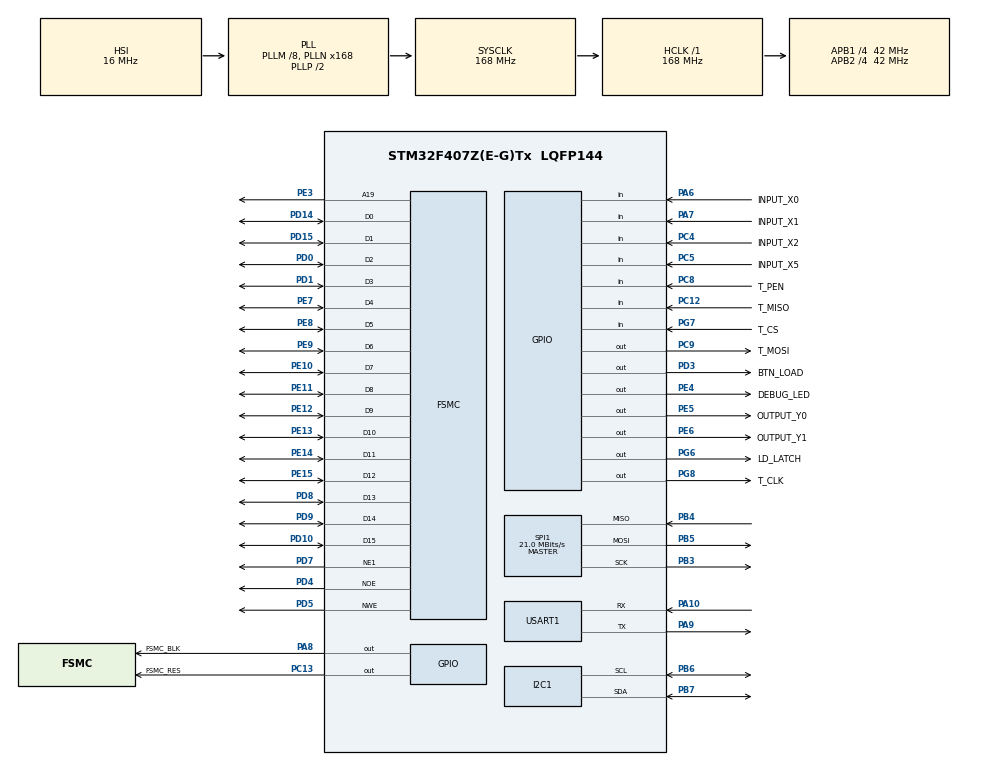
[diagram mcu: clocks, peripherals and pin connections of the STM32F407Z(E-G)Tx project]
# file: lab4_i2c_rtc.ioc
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FSMC.AddressSetupTime1=0xf
FSMC.BusTurnAroundDuration1=0
FSMC.DataSetupTime1=60
FSMC.ExtendedAddressSetupTime1=8
FSMC.ExtendedBusTurnAroundDuration1=0
FSMC.ExtendedDataSetupTime1=9
FSMC.ExtendedMode1=FSMC_EXTENDED_MODE_ENABLE
Mcu.Family=STM32F4
Mcu.Name=STM32F407Z(E-G)Tx
Mcu.Package=LQFP144
NVIC.PriorityGroup=NVIC_PRIORITYGROUP_4
NVIC.TIM2_IRQn=true\:0\:0\:false\:false\:true\:true\:true
NVIC.USART1_IRQn=true\:0\:0\:false\:false\:true\:true\:true
PA10.Mode=Asynchronous
PA10.Signal=USART1_RX
PA13.Mode=Serial_Wire
PA13.Signal=SYS_JTMS-SWDIO
PA14.Mode=Serial_Wire
PA14.Signal=SYS_JTCK-SWCLK
PA6.GPIO_Label=INPUT_X0
PA6.Signal=GPIO_Input
PA7.GPIO_Label=INPUT_X1
PA7.Signal=GPIO_Input
PA8.GPIO_Label=FSMC_BLK
PA8.Signal=GPIO_Output
PA9.Mode=Asynchronous
PA9.Signal=USART1_TX
PB3.Mode=Full_Duplex_Master
PB3.Signal=SPI1_SCK
PB4.Mode=Full_Duplex_Master
PB4.Signal=SPI1_MISO
PB5.Mode=Full_Duplex_Master
PB5.Signal=SPI1_MOSI
PB6.Mode=I2C
PB6.Signal=I2C1_SCL
PB7.Mode=I2C
PB7.Signal=I2C1_SDA
PC12.GPIO_Label=T_MISO
PC12.Signal=GPIO_Input
PC13-ANTI_TAMP.GPIO_Label=FSMC_RES
PC13-ANTI_TAMP.Signal=GPIO_Output
PC4.GPIO_Label=INPUT_X2
PC4.Signal=GPIO_Input
PC5.GPIO_Label=INPUT_X5
PC5.Signal=GPIO_Input
PC8.GPIO_Label=T_PEN
PC8.Signal=GPIO_Input
PC9.GPIO_Label=T_MOSI
PC9.Signal=GPIO_Output
PD0.Signal=FSMC_D2_DA2
PD1.Signal=FSMC_D3_DA3
PD10.Signal=FSMC_D15_DA15
PD14.Signal=FSMC_D0_DA0
PD15.Signal=FSMC_D1_DA1
PD3.GPIO_Label=BTN_LOAD
PD3.Signal=GPIO_Output
PD4.Signal=FSMC_NOE
PD5.Signal=FSMC_NWE
PD7.Mode=NorPsramChipSelect1_1
PD7.Signal=FSMC_NE1
PD8.Signal=FSMC_D13_DA13
PD9.Signal=FSMC_D14_DA14
PE10.Signal=FSMC_D7_DA7
PE11.Signal=FSMC_D8_DA8
PE12.Signal=FSMC_D9_DA9
PE13.Signal=FSMC_D10_DA10
PE14.Signal=FSMC_D11_DA11
PE15.Signal=FSMC_D12_DA12
PE3.Signal=FSMC_A19
PE4.GPIO_Label=DEBUG_LED
PE4.Signal=GPIO_Output
PE5.GPIO_Label=OUTPUT_Y0
PE5.Signal=GPIO_Output
PE6.GPIO_Label=OUTPUT_Y1
PE6.Signal=GPIO_Output
PE7.Signal=FSMC_D4_DA4
PE8.Signal=FSMC_D5_DA5
PE9.Signal=FSMC_D6_DA6
PG6.GPIO_Label=LD_LATCH
PG6.Signal=GPIO_Output
PG7.GPIO_Label=T_CS
PG7.Signal=GPIO_Input
PG8.GPIO_Label=T_CLK
PG8.Signal=GPIO_Output
PH0-OSC_IN.Mode=HSE-External-Oscillator
PH0-OSC_IN.Signal=RCC_OSC_IN
PH1-OSC_OUT.Mode=HSE-External-Oscillator
PH1-OSC_OUT.Signal=RCC_OSC_OUT
ProjectManager.HeapSize=0x200
ProjectManager.StackSize=0x400
ProjectManager.TargetToolchain=STM32CubeIDE
RCC.48MHZClocksFreq_Value=84000000
RCC.AHBFreq_Value=168000000
RCC.APB1CLKDivider=RCC_HCLK_DIV4
RCC.APB1Freq_Value=42000000
RCC.APB1TimFreq_Value=84000000
RCC.APB2CLKDivider=RCC_HCLK_DIV4
RCC.APB2Freq_Value=42000000
RCC.APB2TimFreq_Value=84000000
RCC.CortexFreq_Value=168000000
RCC.HCLKFreq_Value=168000000
RCC.HSE_VALUE=8000000
RCC.HSI_VALUE=16000000
RCC.LSE_VALUE=32768
RCC.PLLM=8
RCC.PLLN=168
RCC.SYSCLKFreq_VALUE=168000000
RCC.SYSCLKSource=RCC_SYSCLKSOURCE_PLLCLK
RCC.VCOOutputFreq_Value=336000000
SH.FSMC_A19.0=FSMC_A19,A19_1
SH.FSMC_D0_DA0.0=FSMC_D0,16b-d1
SH.FSMC_D10_DA10.0=FSMC_D10,16b-d1
SH.FSMC_D11_DA11.0=FSMC_D11,16b-d1
SH.FSMC_D12_DA12.0=FSMC_D12,16b-d1
SH.FSMC_D13_DA13.0=FSMC_D13,16b-d1
SH.FSMC_D14_DA14.0=FSMC_D14,16b-d1
SH.FSMC_D15_DA15.0=FSMC_D15,16b-d1
SH.FSMC_D1_DA1.0=FSMC_D1,16b-d1
SH.FSMC_D2_DA2.0=FSMC_D2,16b-d1
SH.FSMC_D3_DA3.0=FSMC_DA3
SH.FSMC_D3_DA3.1=FSMC_D3,16b-d1
SH.FSMC_D4_DA4.0=FSMC_D4,16b-d1
SH.FSMC_D5_DA5.0=FSMC_D5,16b-d1
SH.FSMC_D6_DA6.0=FSMC_D6,16b-d1
SH.FSMC_D7_DA7.0=FSMC_D7,16b-d1
SH.FSMC_D8_DA8.0=FSMC_D8,16b-d1
SH.FSMC_D9_DA9.0=FSMC_D9,16b-d1
SH.FSMC_NOE.0=FSMC_NOE,Lcd1
SH.FSMC_NWE.0=FSMC_NWE,Lcd1
SPI1.CalculateBaudRate=21.0 MBits/s
SPI1.Direction=SPI_DIRECTION_2LINES
SPI1.Mode=SPI_MODE_MASTER
SPI1.VirtualType=VM_MASTER
TIM2.Period=100-1
TIM2.Prescaler=840-1
USART1.VirtualMode=VM_ASYNC
VP_TIM2_VS_ClockSourceINT.Mode=Internal
board=custom

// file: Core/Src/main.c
/* USER CODE BEGIN Header */
/**
  ******************************************************************************
  * @file           : main.c
  * @brief          : Main program body
  ******************************************************************************
  * @attention
  *
  * <h2><center>&copy; Copyright (c) 2023 STMicroelectronics.
  * All rights reserved.</center></h2>
  *
  * This software component is licensed by ST under BSD 3-Clause license,
  * the "License"; You may not use this file except in compliance with the
  * License. You may obtain a copy of the License at:
  *                        opensource.org/licenses/BSD-3-Clause
  *
  ******************************************************************************
  */
/* USER CODE END Header */
#include "main.h"
#include "i2c.h"
#include "spi.h"
#include "tim.h"
#include "usart.h"
#include "gpio.h"
#include "fsmc.h"

/* USER CODE BEGIN Includes */
#include "software_timer.h"
#include "led_7seg.h"
#include "button.h"
#include "lcd.h"
#include "picture.h"
#include "ds3231.h"
#include "main_fsm.h"
#include "global.h"
/* USER CODE END Includes */

/* USER CODE BEGIN PV */
uint8_t count_led_debug = 0;
/* USER CODE END PV */

void SystemClock_Config(void);
/* USER CODE BEGIN PFP */
void system_init();
void displayTime();
void updateTime();
void main_fsm();
/* USER CODE END PFP */

int main(void)
{

  /* MCU Configuration--------------------------------------------------------*/

  /* Reset of all peripherals, Initializes the Flash interface and the Systick. */
  HAL_Init();

  /* Configure the system clock */
  SystemClock_Config();

  /* Initialize all configured peripherals */
  MX_GPIO_Init();
  MX_SPI1_Init();
  MX_TIM2_Init();
  MX_I2C1_Init();
  MX_FSMC_Init();
  MX_USART1_UART_Init();
  /* USER CODE BEGIN 2 */
  system_init();
  /* USER CODE END 2 */

  /* Infinite loop */
  /* USER CODE BEGIN WHILE */

  // clear the lcd screen
  lcd_Clear(BLACK);

  // initialize time for ds3231
  updateTime();

  // initialize state for finite state machines
  status[0] = INIT;			// main fsm
  status[1] = TA_INIT;		// time adjust fsm
  status[2] = AL_INIT;		// alarm fsm

  // alarm_on indicates whether an alarm is on -> initialize 0
  alarm_on = 0;

  // Show MODE on the left corner of the lcd screen from the beginning til the end
  lcd_ShowStr(20, 20, "MODE", WHITE, RED, 24, 0);
  while (1)
  {
    /* USER CODE END WHILE */

    /* USER CODE BEGIN 3 */
	  // call main_fsm
	  main_fsm();

	  // flag_timer[0] every 50 ms
	  while(!flag_timer[0]);

	  // scan button
	  button_Scan();

	  // read time from ds3231 ic to ds3231 variables
	  ds3231_ReadTime();

	  // reset flag_timer[0] to 0
	  flag_timer[0] = 0;

	  // increase count_at
	  // count_at is a counter to keep track 10 times of flag_timer[0] -> Cycle: 50x10 = 500ms -> Frequency: f = 2Hz
	  // when count_at reaches 10 -> reset count_at and toggle the value of toggle_at
	  // toggle_at is used inside the main_fsm to hide or show the number of the time component adjusting 2 times/second
	  count_at = count_at + 1;
	  if(count_at == 1){		// 2Hz frequency toggle for adjust time
		  count_at = 0;
		  toggle_at = 1 - toggle_at;
	  }

	  // when there is an alarm on (an alarm is set already)
	  // and flag_alarm is active (this means the real time reaches the setup alarm)
	  // => WARNING ANNOUNCEMENT SHOWN ON THE SCREEN
	  if(alarm_on == 1 && flag_alarm){
		  // count_al and toggle_al are similar to the above count_at and toggle_at
		  // these 2 control signals are used to create the toggling animation of the WARNING on the screen
		  if(count_al == 10){
			  count_al = 0;
			  toggle_al = 1 - toggle_al;
		  } else {
			  count_al = count_al + 1;
		  }

		  // when toggle_al == 1 -> show the message
		  if(toggle_al == 1){
			  lcd_ShowStr(20, 150, "TIME TO WAKE UP!!!", RED, BLACK, 24, 1);
		  } else {		// when toggle_al == 0 => hide the message
			  lcd_ShowStr(20, 150, "TIME TO WAKE UP!!!", BLACK, BLACK, 24, 1);
		  }
	  }

	  // if button "0" is pressed -> stop alarm
	  if(button_count[13] == 1){
		  alarm_on = 0;
		  flag_alarm = 0;
		  lcd_ShowStr(20, 150, "TIME TO WAKE UP!!!", BLACK, BLACK, 24, 1);
	  }
  }
  /* USER CODE END 3 */
}

void SystemClock_Config(void)
{
  RCC_OscInitTypeDef RCC_OscInitStruct = {0};
  RCC_ClkInitTypeDef RCC_ClkInitStruct = {0};

  /** Configure the main internal regulator output voltage
  */
  __HAL_RCC_PWR_CLK_ENABLE();
  __HAL_PWR_VOLTAGESCALING_CONFIG(PWR_REGULATOR_VOLTAGE_SCALE1);
  /** Initializes the RCC Oscillators according to the specified parameters
  * in the RCC_OscInitTypeDef structure.
  */
  RCC_OscInitStruct.OscillatorType = RCC_OSCILLATORTYPE_HSI;
  RCC_OscInitStruct.HSIState = RCC_HSI_ON;
  RCC_OscInitStruct.HSICalibrationValue = RCC_HSICALIBRATION_DEFAULT;
  RCC_OscInitStruct.PLL.PLLState = RCC_PLL_ON;
  RCC_OscInitStruct.PLL.PLLSource = RCC_PLLSOURCE_HSI;
  RCC_OscInitStruct.PLL.PLLM = 8;
  RCC_OscInitStruct.PLL.PLLN = 168;
  RCC_OscInitStruct.PLL.PLLP = RCC_PLLP_DIV2;
  RCC_OscInitStruct.PLL.PLLQ = 4;
  if (HAL_RCC_OscConfig(&RCC_OscInitStruct) != HAL_OK)
  {
    Error_Handler();
  }
  /** Initializes the CPU, AHB and APB buses clocks
  */
  RCC_ClkInitStruct.ClockType = RCC_CLOCKTYPE_HCLK|RCC_CLOCKTYPE_SYSCLK
                              |RCC_CLOCKTYPE_PCLK1|RCC_CLOCKTYPE_PCLK2;
  RCC_ClkInitStruct.SYSCLKSource = RCC_SYSCLKSOURCE_PLLCLK;
  RCC_ClkInitStruct.AHBCLKDivider = RCC_SYSCLK_DIV1;
  RCC_ClkInitStruct.APB1CLKDivider = RCC_HCLK_DIV4;
  RCC_ClkInitStruct.APB2CLKDivider = RCC_HCLK_DIV4;

  if (HAL_RCC_ClockConfig(&RCC_ClkInitStruct, FLASH_LATENCY_5) != HAL_OK)
  {
    Error_Handler();
  }
}

/* USER CODE BEGIN 4 */
void system_init(){
	HAL_GPIO_WritePin(OUTPUT_Y0_GPIO_Port, OUTPUT_Y0_Pin, 0);
	HAL_GPIO_WritePin(OUTPUT_Y1_GPIO_Port, OUTPUT_Y1_Pin, 0);
	HAL_GPIO_WritePin(DEBUG_LED_GPIO_Port, DEBUG_LED_Pin, 0);
	timer_init();
	button_init();
	lcd_init();
	ds3231_init();
	uart_init_rs232();
//	setTimer2(50);
	setTimer(50, 0);		// timer[0] -> 200 MHz frequency to scanbutton
	setTimer(500, 1);		// timer[1] -> 2 Hz frequency toggle time in adjust time mode
	setTimer(500, 2);		// timer[2] -> 2 Hz frequency for alarm animation
	setTimer(2000, 3);		// timer[3] -> display
	setTimer(200, 4);
}

void updateTime(){
	ds3231_Write(ADDRESS_YEAR, 24);
	ds3231_Write(ADDRESS_MONTH, 11);
	ds3231_Write(ADDRESS_DATE, 13);
	ds3231_Write(ADDRESS_DAY, 4);
	ds3231_Write(ADDRESS_HOUR, 9);
	ds3231_Write(ADDRESS_MIN, 45);
	ds3231_Write(ADDRESS_SEC, 0);
}
void displayTime(){
	lcd_ShowIntNum(70, 100, ds3231_hours, 2, GREEN, BLACK, 24);
	lcd_ShowIntNum(110, 100, ds3231_min, 2, GREEN, BLACK, 24);
	lcd_ShowIntNum(150, 100, ds3231_sec, 2, GREEN, BLACK, 24);
	lcd_ShowIntNum(20, 130, ds3231_day, 2, YELLOW, BLACK, 24);
	lcd_ShowIntNum(70, 130, ds3231_date, 2, YELLOW, BLACK, 24);
	lcd_ShowIntNum(110, 130, ds3231_month, 2, YELLOW, BLACK, 24);
	lcd_ShowIntNum(150, 130, ds3231_year, 2, YELLOW, BLACK, 24);
}
/* USER CODE END 4 */

void Error_Handler(void)
{
  __disable_irq();
  while (1)
  {
  }
}

/************************ (C) COPYRIGHT STMicroelectronics *****END OF FILE****/
